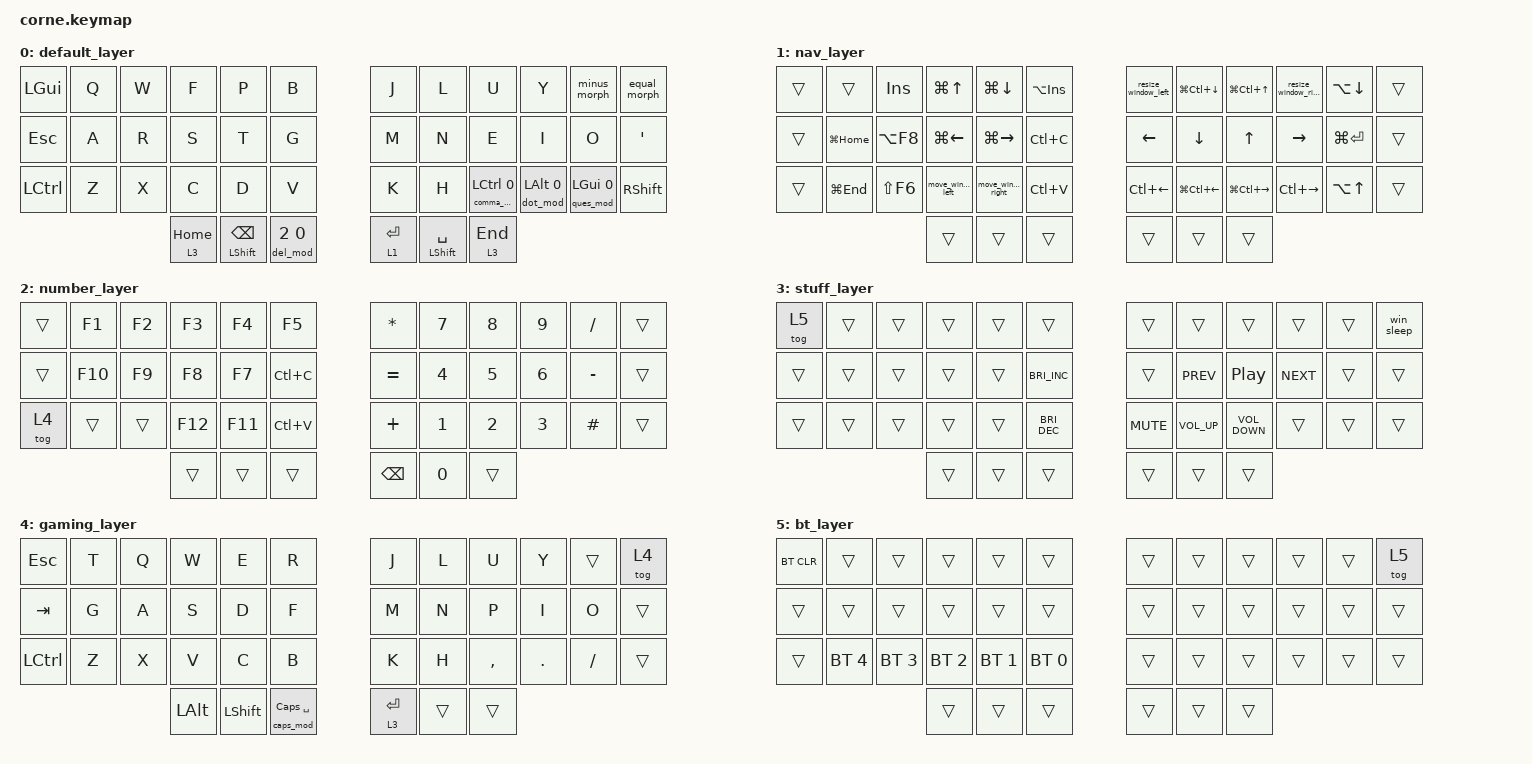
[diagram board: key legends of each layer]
/*
 * Copyright (c) 2020 The ZMK Contributors
 *
 * SPDX-License-Identifier: MIT
 */

#include <behaviors.dtsi>
#include <dt-bindings/zmk/bt.h>
#include <dt-bindings/zmk/keys.h>
#include "../zmk-nodefree-config/helper.h"
#define LT_TAPPING_TERM_MS 180
#define QUICK_TAP_MS 175
#define TAPPING_TERM_MS 180
#define REQUIRE_PRIOR_IDLE_MS 150

&lt {  // layer-tap config
    flavor = "balanced";
    tapping-term-ms = <LT_TAPPING_TERM_MS>;
    quick-tap-ms = <QUICK_TAP_MS>;
};

#include "../zmk-nodefree-config/keypos_def/keypos_42keys.h"
#define KEYS_L LT0 LT1 LT2 LT3 LT4 LM0 LM1 LM2 LM3 LM4 LB0 LB1 LB2 LB3 LB4  // left-hand keys
#define KEYS_R RT0 RT1 RT2 RT3 RT4 RM0 RM1 RM2 RM3 RM4 RB0 RB1 RB2 RB3 RB4  // right-hand keys
#define THUMBS_L LH2 LH1 LH0 
#define THUMBS_R RH0 RH1 RH2

#include "combos.dtsi"

ZMK_BEHAVIOR(comma_morph, mod_morph,
    mods = <(MOD_LSFT|MOD_RSFT)>;
    bindings = <&kp COMMA>, <&kp SEMI>;
)

ZMK_BEHAVIOR(dot_morph, mod_morph,
    mods = <(MOD_LSFT|MOD_RSFT)>;
    bindings = <&kp DOT>, <&kp COLON>;
)

ZMK_BEHAVIOR(par_morph, mod_morph,
    mods = <(MOD_LSFT|MOD_RSFT)>;
    bindings = <&kp LPAR>, <&kp RPAR>;
)

ZMK_BEHAVIOR(brace_morph, mod_morph,
    mods = <(MOD_LSFT|MOD_RSFT)>;
    bindings = <&kp LBRC>, <&kp RBRC>;
)

ZMK_BEHAVIOR(bracket_morph, mod_morph,
    mods = <(MOD_LSFT|MOD_RSFT)>;
    bindings = <&kp LBKT>, <&kp RBKT>;
)

ZMK_BEHAVIOR(gt_morph, mod_morph,
    mods = <(MOD_LSFT|MOD_RSFT)>;
    bindings = <&kp LT>, <&kp GT>;
)

ZMK_BEHAVIOR(minus_morph, mod_morph,
    mods = <(MOD_LSFT|MOD_RSFT)>;
    bindings = <&kp MINUS>, <&kp PLUS>;
)

ZMK_BEHAVIOR(equal_morph, mod_morph,
    mods = <(MOD_LSFT|MOD_RSFT)>;
    bindings = <&kp EQUAL>, <&kp GT>;
)

ZMK_BEHAVIOR(up_morph, mod_morph,
    mods = <(MOD_LSFT|MOD_RSFT)>;
    bindings = <&kp UP>, <&kp DOWN>;
)

ZMK_BEHAVIOR(left_morph, mod_morph,
    mods = <(MOD_LSFT|MOD_RSFT)>;
    bindings = <&kp LEFT>, <&kp RIGHT>;
)

ZMK_BEHAVIOR(del_morph, mod_morph,
    mods = <(MOD_LSFT|MOD_RSFT)>;
    bindings = <&kp DEL>, <&kp TAB>;
)

ZMK_BEHAVIOR(home_morph, mod_morph,
    mods = <(MOD_LSFT|MOD_RSFT)>;
    bindings = <&kp HOME>, <&kp END>;
)
ZMK_BEHAVIOR(amp_morph, mod_morph,
    mods = <(MOD_LSFT|MOD_RSFT)>;
    bindings = <&kp AMPERSAND>, <&kp PIPE>;
)

ZMK_BEHAVIOR(slash_morph, mod_morph,
    mods = <(MOD_LSFT|MOD_RSFT)>;
    bindings = <&kp FSLH>, <&kp BSLH>;
)

ZMK_BEHAVIOR(ques_morph, mod_morph,
    mods = <(MOD_LSFT|MOD_RSFT)>;
    bindings = <&kp QMARK>, <&kp EXCL>;
)
/* left-hand HRMs */
ZMK_BEHAVIOR(hml, hold_tap,
    flavor = "balanced";
    tapping-term-ms = <TAPPING_TERM_MS>;
    quick-tap-ms = <QUICK_TAP_MS>;                 
    require-prior-idle-ms = <REQUIRE_PRIOR_IDLE_MS>;         
    bindings = <&kp>, <&kp>;
    hold-trigger-key-positions = <KEYS_R THUMBS_R>;
    hold-trigger-on-release;             
)

/* right-hand HRMs */
ZMK_BEHAVIOR(hmr, hold_tap,
    flavor = "balanced";
    tapping-term-ms = <TAPPING_TERM_MS>;
    quick-tap-ms = <QUICK_TAP_MS>;                
    require-prior-idle-ms = <REQUIRE_PRIOR_IDLE_MS>; 
    bindings = <&kp>, <&kp>;
    hold-trigger-key-positions = <KEYS_L THUMBS_L>;
    hold-trigger-on-release;             
)

ZMK_BEHAVIOR(comma_mod, hold_tap,
    flavor = "balanced";
    tapping-term-ms = <TAPPING_TERM_MS>;
    quick-tap-ms = <QUICK_TAP_MS>;                
    require-prior-idle-ms = <REQUIRE_PRIOR_IDLE_MS>; 
    bindings = <&kp>, <&comma_morph>;
    hold-trigger-key-positions = <KEYS_L THUMBS_L>;
    hold-trigger-on-release;             
)

ZMK_BEHAVIOR(dot_mod, hold_tap,
    flavor = "balanced";
    tapping-term-ms = <TAPPING_TERM_MS>;
    quick-tap-ms = <QUICK_TAP_MS>;                
    require-prior-idle-ms = <REQUIRE_PRIOR_IDLE_MS>; 
    bindings = <&kp>, <&dot_morph>;
    hold-trigger-key-positions = <KEYS_L THUMBS_L>;
    hold-trigger-on-release;             
)

ZMK_BEHAVIOR(del_mod, hold_tap,
    flavor = "balanced";
    tapping-term-ms = <TAPPING_TERM_MS>;
    quick-tap-ms = <QUICK_TAP_MS>;                
    bindings = <&mo>, <&del_morph>;
    hold-trigger-key-positions = <KEYS_L THUMBS_L>;
    hold-trigger-on-release;             
)

ZMK_BEHAVIOR(home_mod, hold_tap,
    flavor = "balanced";
    tapping-term-ms = <TAPPING_TERM_MS>;
    quick-tap-ms = <QUICK_TAP_MS>;                
    require-prior-idle-ms = <REQUIRE_PRIOR_IDLE_MS>; 
    bindings = <&mo>, <&home_morph>;
    hold-trigger-key-positions = <KEYS_L THUMBS_L>;
    hold-trigger-on-release;             
)

ZMK_BEHAVIOR(ques_mod, hold_tap,
    flavor = "balanced";
    tapping-term-ms = <TAPPING_TERM_MS>;
    quick-tap-ms = <QUICK_TAP_MS>;                
    bindings = <&kp>, <&ques_morph>;
    hold-trigger-key-positions = <KEYS_L THUMBS_L>;
    hold-trigger-on-release;             
)

ZMK_BEHAVIOR(caps_mod, hold_tap,
    flavor = "balanced";
    tapping-term-ms = <TAPPING_TERM_MS>;
    quick-tap-ms = <QUICK_TAP_MS>;                
    bindings = <&kp>, <&kp>;
    hold-trigger-key-positions = <KEYS_L THUMBS_L>;
    hold-trigger-on-release;             
)

ZMK_BEHAVIOR(resize_window_left, macro,
wait-ms = <100>;
    bindings = <&macro_tap &kp LG(ENTER)>
             , <&macro_tap &kp LS(LEFT)>
             , <&macro_tap &kp ENTER>;
)

ZMK_BEHAVIOR(resize_window_right, macro,
wait-ms = <100>;
   bindings = <&macro_tap &kp LG(ENTER)>
             , <&macro_tap &kp LS(RIGHT)>
             , <&macro_tap &kp ENTER>;
)

ZMK_BEHAVIOR(move_window_left, macro,
wait-ms = <100>;
    bindings = <&macro_tap &kp LG(ENTER)>
             , <&macro_tap &kp LEFT>
             , <&macro_tap &kp ENTER>;
)

ZMK_BEHAVIOR(move_window_right, macro,
   wait-ms = <100>;
   bindings = <&macro_tap &kp LG(ENTER)>
             , <&macro_tap &kp RIGHT>
             , <&macro_tap &kp ENTER>;
)

ZMK_BEHAVIOR(win_sleep, macro,
    wait-ms = <200>;
    tap-ms = <50>;
    bindings = <&kp LG(X) &kp U &kp S>;
)

&mt { 
    flavor = "tap-preferred"; 
    tapping-term-ms = <200>; 
    quick-tap-ms = <175>; 
};


/ {
     keymap {
        compatible = "zmk,keymap";

         default_layer {
            // -----------------------------------------------------------------------------------------
            // | GUI  |  Q   |  W  |  F  |  P  |  B  |   |  J  |  L  |  Y  |  U  |  -/+  |  =/> |
            // | ESC  |  A   |  R  |  S  |  T  |  G  |   |  M  |  N  |  E  |  I  |  O  |  '   |
            // | CTRL |  Z   |  X  |  C  |  D  |  V  |   |  K  |  H  |  ,/CTRL   |  ./ALT   |  '/'/GUI  | SHFT |
            //       | HOME/4 | BCKSPC/SHIFT | DEL/TAB/3 |   | ENTER/LC(ENTER)/1 | SPC/SHIFT | END/4 |

            bindings = <
            &kp LGUI   &kp Q &kp W &kp F &kp P &kp B        &kp J  &kp L &kp U     &kp Y   &minus_morph  &equal_morph
            &kp ESC   &kp A &kp R &kp S &kp T &kp G        &kp M  &kp N &kp E     &kp I   &kp O     &kp SQT
            &kp LCTRL &kp Z &kp X &kp C &kp D &kp V        &kp K  &kp H &comma_mod LCTRL 0 &dot_mod LALT 0 &ques_mod LGUI 0  &kp RSHFT
        &lt 3 HOME   &mt LSHIFT BACKSPACE  &del_mod 2 0        &lt 1 ENTER  &mt LSHIFT SPACE   &lt 3 END
            >;
        };

        nav_layer {
            // -----------------------------------------------------------------------------------------
            // |        |     |       |  EVAL     |  RENAME    | LA(INS) |   | RESZE_WIN | UP_WRKSPC | DOWN_WRKSPC | RESZE_WIN |            |      |
            // |        |     | INS   | GUI(LEFT) | GUI(RIGHT) | COPY    |   | LFT       | DWN         |  UP         | RGT       |  GUI(ENT)  |      |
            // |        |     |       | GUI(UP)   | GUI(DOWN)  | PASTE   |   | WNDWLFT   | WRKSPCLTF   | WRKSPCRHT   | WNDWRHT   |            |      |
            //                                 |     |     |     |         |   |     |     |

            bindings = <
&trans  &trans       &kp INS         &kp LG(UP_ARROW)   &kp LG(DOWN_ARROW)   &kp LA(INSERT)         &resize_window_left    &kp LG(LC(DOWN))     &kp LG(LC(UP))             &resize_window_right      &kp LA(DOWN)         &trans
&trans  &kp LG(HOME) &kp LA(F8)     &kp LG(LEFT_ARROW) &kp LG(RIGHT_ARROW) &kp LC(C)        &kp LEFT               &kp DOWN               &kp UP                  &kp RIGHT               &kp LG(ENTER)  &trans
&trans  &kp LG(END)  &kp LS(F6)     &move_window_left   &move_window_right  &kp LC(V)    &kp LC(LEFT_ARROW) &kp LG(LC(LEFT_ARROW)) &kp LG(LC(RIGHT_ARROW)) &kp LC(RIGHT_ARROW) &kp LA(UP)         &trans
                                                  &trans      &trans   &trans              &trans    &trans       &trans
            >;
        };

number_layer {
            // -----------------------------------------------------------------------------------------
            // |       |  F1 |  F2 |  F3 | F4  | F5  |       | *  |  7  |  8  |  9  | /  |  |
            // |       | F10 |  F9 |  F8 | F7  | F6  |       | =  |  4  |  5  |  6  | -  |  |
            // | TOG_5 |     |     |     | F12 | F11 |       | +  |  1  |  2  |  3  | #  |  |
            //                    |     |     |     |       | BKSP    |  0  |     |

            bindings = <
&trans      &kp F1        &kp F2        &kp F3      &kp F4    &kp F5           &kp ASTRK  &kp NUMBER_7  &kp NUMBER_8  &kp NUMBER_9  &kp FSLH  &trans
&trans      &kp F10       &kp F9        &kp F8      &kp F7    &kp LC(C)           &kp EQUAL  &kp NUMBER_4  &kp NUMBER_5  &kp NUMBER_6  &kp MINUS  &trans
&tog 4      &trans        &trans        &kp F12     &kp F11   &kp LC(V)          &kp PLUS  &kp NUMBER_1  &kp NUMBER_2  &kp NUMBER_3  &kp HASH  &trans
                                    &trans        &trans        &trans         &kp BACKSPACE   &kp NUMBER_0  &trans
            >;
        };

stuff_layer {
            // -----------------------------------------------------------------------------------------
            // |  TOG_6  |   |   |   |  |          |       |      |    |    |    |   |  |
            // |         |   |   |   |  | BRI_INC  |       |      |  PREV  |  PLY/PSE  | NEXT  |   |   |
            // |         |   |   |   |  | BRI_DEC  |       | MUTE |  VUP   |  VDWN     |   |   |   |
            //                    |     |     |     |       |     |    |     |

            bindings = <
&tog 5      &trans   &trans   &trans  &trans   &trans       &trans  &trans   &trans  &trans  &trans  &win_sleep
&trans      &trans   &trans   &trans  &trans  &kp C_BRI_INC          &trans  &kp C_PREV  &kp C_PLAY_PAUSE   &kp C_NEXT    &trans    &trans
&trans   &trans   &trans   &trans  &trans  &kp C_BRI_DEC         &kp C_MUTE  &kp C_VOLUME_UP  &kp C_VOLUME_DOWN  &trans  &trans &trans
              &trans   &trans   &trans         &trans   &trans  &trans
            >;
        };

gaming_layer {
            // -----------------------------------------------------------------------------------------
            // |  ESC  |  T |  Q |  W | E  | R  |       | J |  L  |  U  |  Y  |    |  TOG_4   |
            // |  TAB  |  G |  A |  S | D  | F  |       | M |  N  |  P  |  I  | O  |     |
            // |  SHFT |  Z |  X |  V | C  | B  |       | K |  H  |  ,  |  .  | /  |     |
            //       |  ALT  |  SHFT  |  SPC  |       | ESC |    |     |

            bindings = <
&kp ESC     &kp T   &kp Q   &kp W  &kp E   &kp R          &kp J  &kp L  &kp U      &kp Y    &trans   &tog 4
&kp TAB     &kp G   &kp A   &kp S  &kp D   &kp F          &kp M  &kp N  &kp P      &kp I    &kp O    &trans
&kp LCTRL   &kp Z   &kp X   &kp V  &kp C   &kp B          &kp K  &kp H  &kp COMMA  &kp DOT  &kp FSLH &trans
              &kp LALT   &kp LSHIFT    &caps_mod CAPS SPACE         &lt 3 ENTER   &trans  &trans
            >;
        };

        bt_layer {
            bindings = <
&bt BT_CLR  &trans        &trans        &trans        &trans        &trans           &trans  &trans        &trans        &trans  &trans  &tog 5
&trans      &trans        &trans        &trans        &trans        &trans           &trans  &trans        &trans        &trans  &trans  &trans
&trans      &bt BT_SEL 4  &bt BT_SEL 3  &bt BT_SEL 2  &bt BT_SEL 1  &bt BT_SEL 0     &trans  &trans        &trans        &trans  &trans  &trans
                                    &trans        &trans        &trans           &trans  &trans  &trans
            >;
        };
    };
};
